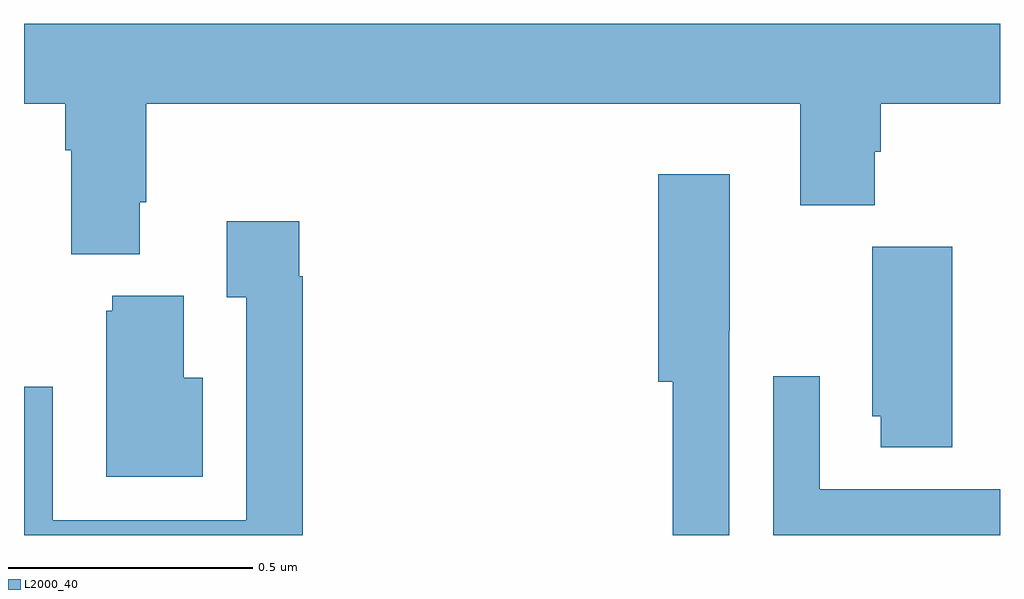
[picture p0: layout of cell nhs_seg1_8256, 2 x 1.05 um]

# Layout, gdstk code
import gdstk
lib = gdstk.Library(unit=1e-6, precision=1e-09)
def P(c, l, *ps):  # polygons
    for p in ps: c.add(gdstk.Polygon(p, *l))
L2000_40 = (2000, 40)

nhs_seg1_8256 = lib.new_cell('nhs_seg1_8256')
P(nhs_seg1_8256, L2000_40, [(214.237,532.882),(214.25,532.882),(214.25,533.084),(215.591,533.084),(215.591,532.876),(215.743,532.876),(215.743,532.985),(215.756,532.985),(215.756,533.084),(216,533.084),(216,533.248),(214,533.248),(214,533.084),(214.085,533.084),(214.085,532.988),(214.097,532.988),(214.097,532.775),(214.237,532.775)],
  [(215.445,532.618),(215.446,532.618),(215.446,532.939),(215.3,532.939),(215.3,532.514),(215.329,532.514),(215.329,532.199),(215.445,532.199)],
  [(214.571,532.73),(214.564,532.73),(214.564,532.843),(214.415,532.843),(214.415,532.687),(214.455,532.687),(214.455,532.23),(214.059,532.23),(214.059,532.504),(214,532.504),(214,532.199),(214.571,532.199)],
  [(215.902,532.791),(215.738,532.791),(215.738,532.443),(215.756,532.443),(215.756,532.38),(215.902,532.38)],
  [(214.366,532.522),(214.327,532.522),(214.327,532.69),(214.181,532.69),(214.181,532.659),(214.169,532.659),(214.169,532.319),(214.366,532.319)],
  [(216,532.294),(215.631,532.294),(215.631,532.525),(215.535,532.525),(215.535,532.199),(216,532.199)])

lib.write_gds('nhs_seg1_8256.gds')
